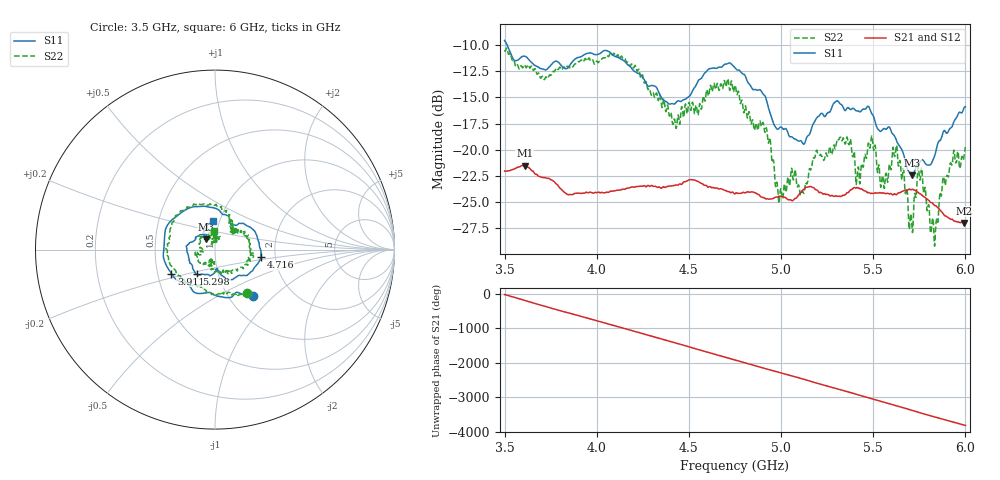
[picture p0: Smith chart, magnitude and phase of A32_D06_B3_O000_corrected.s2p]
! Created with skrf 1.9.0 (http://scikit-rf.org).
# Hz S RI R 50.0
!freq ReS11 ImS11 ReS21 ImS21 ReS12 ImS12 ReS22 ImS22
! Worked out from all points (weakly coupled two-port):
!   1601 points, 3.5 GHz to 6 GHz, reference 50 ohm
!   highest |S21| = -21.50 dB at 3.609 GHz (marker M1); lowest = -27.0 dB at 5.992 GHz (marker M2)
!   lowest |S11| = -22.4 dB at 5.713 GHz (marker M3), VSWR 1.16, Z = 45 + j5.2 ohm
!   |S11| at or under -10 dB: 3.514 GHz to end of sweep
!   |S22| runs from -29.2 to -10.3 dB; largest |S21 - S12| = 0.00091
!   S11 on the Smith chart (normalised r, x): 3.5 GHz: 1.28, -0.75; 3.911 GHz: 0.59, -0.17; 4.716 GHz: 1.68, -0.14; 5.298 GHz: 0.79, -0.22; 6 GHz: 0.93, +0.31
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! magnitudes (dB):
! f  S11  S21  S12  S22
! 3.5 GHz  -9.6  -22.0  -22.0  -10.5
! 3.609 GHz  -11.1  -21.5  -21.5  -11.9
! 3.911 GHz  -11.1  -24.1  -24.1  -11.5
! 3.917 GHz  -11.1  -24.2  -24.1  -11.4
! 4.142 GHz  -11.4  -23.7  -23.7  -11.3
! 4.334 GHz  -14.4  -23.6  -23.5  -15.3
! 4.423 GHz  -15.6  -23.4  -23.4  -17.1
! 4.716 GHz  -11.7  -24.0  -24.0  -13.7
! 4.75 GHz  -12.2  -24.2  -24.1  -13.8
! 4.912 GHz  -14.9  -24.6  -24.6  -18.3
! 4.997 GHz  -17.8  -24.4  -24.4  -23.8
! 5.167 GHz  -17.8  -23.6  -23.5  -21.5
! 5.298 GHz  -15.4  -24.4  -24.3  -19.5
! 5.417 GHz  -16.3  -23.7  -23.7  -21.8
! 5.584 GHz  -17.8  -24.2  -24.1  -21.8
! 5.619 GHz  -18.8  -24.2  -24.2  -20.5
! 5.713 GHz  -22.4  -23.8  -23.7  -27.9
! 5.753 GHz  -21.2  -24.2  -24.1  -22.9
! 5.839 GHz  -20.2  -25.3  -25.3  -27.5
! 5.928 GHz  -17.8  -26.6  -26.6  -21.3
! 5.992 GHz  -16.0  -27.0  -26.9  -20.7
! 6 GHz  -15.9  -27.0  -26.9  -19.7
